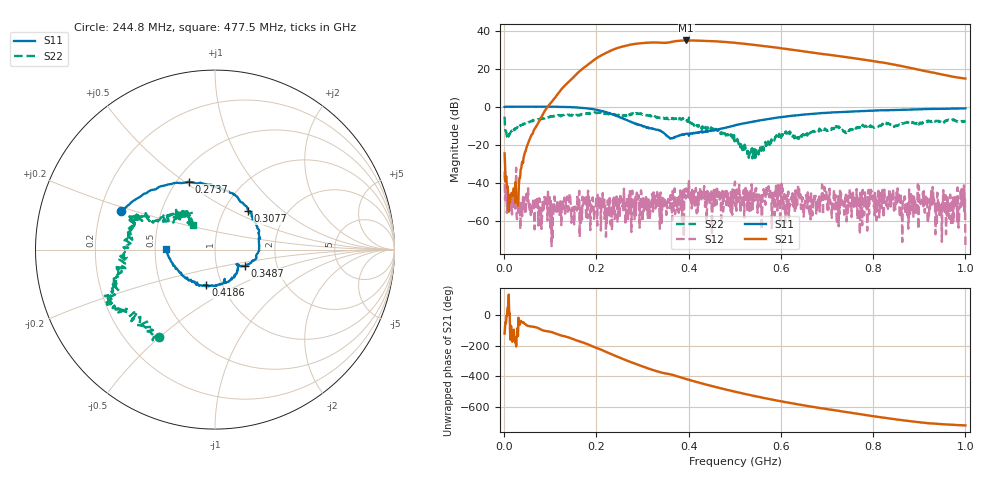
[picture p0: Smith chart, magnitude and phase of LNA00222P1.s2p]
! Created with skrf 1.9.0 (http://scikit-rf.org).
# Hz S RI R 50.0
!freq ReS11 ImS11 ReS21 ImS21 ReS12 ImS12 ReS22 ImS22
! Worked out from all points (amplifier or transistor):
!   1001 points, 1 MHz to 1 GHz, reference 50 ohm
!   highest |S21| = 34.8 dB at 394.6 MHz (marker M1)
!   |S21| within 3 dB of that: 260.1 MHz to 566 MHz (305.9 MHz wide, 74.1 % of centre)
!   unconditionally stable (mu >= 1): 2.578 MHz to 96.88 MHz; 277.7 MHz to 400.3 MHz; 400.9 MHz to end of sweep (the widest 3 of 24)
!   at 166.8 MHz: K = 3.55, MAG = 30.9 dB, |S12| = -59.4 dB
!   at 500.5 MHz: K = 1.12, MAG = 34.4 dB, |S12| = -39.4 dB
!   at 1 GHz: K = 63.23, MAG = 22.7 dB, |S12| = -72.7 dB
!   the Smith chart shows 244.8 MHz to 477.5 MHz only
!   S11 on the Smith chart (normalised r, x): 244.8 MHz: 0.29, +0.18; 273.7 MHz: 0.57, +0.52; 307.7 MHz: 1.30, +0.60; 348.7 MHz: 1.37, -0.26; 418.6 MHz: 0.84, -0.35; 477.5 MHz: 0.57, +0.00
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1000000  0.9802 0.00726  -0.0308 -0.0503  -0.015 0.0128  0.3562 0.4114
1.08892e8  0.5064 -0.8504  -0.7644 -1.438  0.000536 -0.00433  0.4212 -0.3603
1.67833e8  -0.2618 -0.8905  -9.419 -0.6018  0.00212 -0.000331  0.0441 -0.6411
2.1079e8  -0.697 -0.3278  -15.03 16.49  0.00329 0.000122  -0.1992 -0.6582
2.44756e8  -0.522 0.2153  0.8693 34.49  -0.00334 -0.000104  -0.3145 -0.4864
2.73727e8  -0.1452 0.3788  25.72 33.59  0.000834 0.00421  -0.5388 -0.3498
3.07693e8  0.1856 0.2131  45.89 12.78  0.00324 -0.0027  -0.535 -0.2296
3.34666e8  0.2413 -0.0129  47.32 -9.302  -0.00163 0.00196  -0.506 -0.0497
3.48652e8  0.1677 -0.0912  44.2 -17.27  -0.00056 0.00342  -0.4854 0.0135
3.7063e8  0.1273 -0.0905  42.2 -30.96  -0.00128 0.000759  -0.4493 0.1417
3.94606e8  0.0754 -0.1792  28.55 -46.77  0.00235 0.00669  -0.4034 0.1923
4.18582e8  -0.0489 -0.1991  10.05 -53.25  0.00424 0.00223  -0.2611 0.1629
4.45555e8  -0.1782 -0.1455  -9.978 -52.02  0.000872 0.00264  -0.174 0.1936
4.77523e8  -0.275 0.00371  -28.67 -41.18  0.00494 0.000891  -0.1207 0.136
5.005e8  -0.2894 0.1456  -37.29 -29.56  0.0105 -0.00171  -0.1095 0.078
5.4046e8  -0.2033 0.3518  -41.31 -8.496  0.00291 0.00223  -0.058 0.0237
5.86414e8  0.00636 0.5015  -34.73 10.36  -0.000254 -0.00135  -0.1259 -0.0545
6.25375e8  0.199 0.541  -24.31 19.26  0.000581 -0.00529  -0.1316 -0.0941
6.67333e8  0.405 0.5011  -13.11 22.77  0.00122 -0.0023  -0.2156 -0.0328
7.55245e8  0.6927 0.2741  3.611 18.55  0.00123 -0.00443  -0.2561 0.0271
8.34166e8  0.8038 0.0118  9.732 9.307  -0.00245 -0.00383  -0.3509 0.00526
1e9  0.7259 -0.5294  5.471 -0.2245  -0.000194 -0.000125  -0.2758 0.3105
